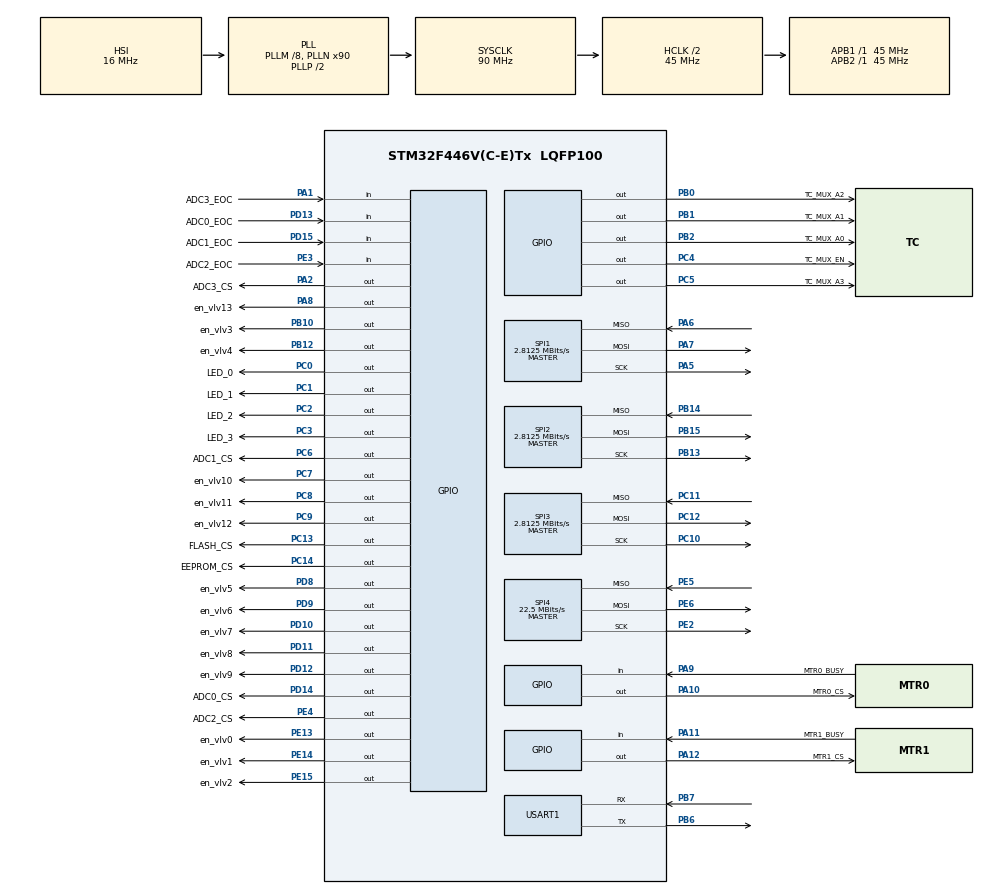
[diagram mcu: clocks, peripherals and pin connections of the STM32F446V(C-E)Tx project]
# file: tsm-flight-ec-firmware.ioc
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Mcu.Family=STM32F4
Mcu.Name=STM32F446V(C-E)Tx
Mcu.Package=LQFP100
NVIC.PriorityGroup=NVIC_PRIORITYGROUP_4
NVIC.TIM1_TRG_COM_TIM11_IRQn=true\:1\:0\:true\:false\:true\:true\:true
NVIC.TIM1_UP_TIM10_IRQn=true\:1\:0\:true\:false\:true\:true\:true
NVIC.TIM8_UP_TIM13_IRQn=true\:1\:0\:true\:false\:true\:true\:true
NVIC.USART1_IRQn=true\:0\:0\:true\:false\:true\:true\:true
PA1.GPIO_Label=ADC3_EOC
PA1.Signal=GPIO_Input
PA10.GPIO_Label=MTR0_CS
PA10.Signal=GPIO_Output
PA11.GPIO_Label=MTR1_BUSY
PA11.Signal=GPIO_Input
PA12.GPIO_Label=MTR1_CS
PA12.Signal=GPIO_Output
PA13.Mode=JTAG_4_pins
PA13.Signal=SYS_JTMS-SWDIO
PA14.Mode=JTAG_4_pins
PA14.Signal=SYS_JTCK-SWCLK
PA15.Mode=JTAG_4_pins
PA15.Signal=SYS_JTDI
PA2.GPIO_Label=ADC3_CS
PA2.Signal=GPIO_Output
PA5.Mode=Full_Duplex_Master
PA5.Signal=SPI1_SCK
PA6.Mode=Full_Duplex_Master
PA6.Signal=SPI1_MISO
PA7.Mode=Full_Duplex_Master
PA7.Signal=SPI1_MOSI
PA8.GPIO_Label=en_vlv13
PA8.Signal=GPIO_Output
PA9.GPIO_Label=MTR0_BUSY
PA9.Signal=GPIO_Input
PB0.GPIO_Label=TC_MUX_A2
PB0.Signal=GPIO_Output
PB1.GPIO_Label=TC_MUX_A1
PB1.Signal=GPIO_Output
PB10.GPIO_Label=en_vlv3
PB10.Signal=GPIO_Output
PB12.GPIO_Label=en_vlv4
PB12.Signal=GPIO_Output
PB13.Mode=Full_Duplex_Master
PB13.Signal=SPI2_SCK
PB14.Mode=Full_Duplex_Master
PB14.Signal=SPI2_MISO
PB15.Mode=Full_Duplex_Master
PB15.Signal=SPI2_MOSI
PB2.GPIO_Label=TC_MUX_A0
PB2.Signal=GPIO_Output
PB3.Mode=JTAG_4_pins
PB3.Signal=SYS_JTDO-SWO
PB6.Mode=Asynchronous
PB6.Signal=USART1_TX
PB7.Mode=Asynchronous
PB7.Signal=USART1_RX
PC0.GPIO_Label=LED_0
PC0.Signal=GPIO_Output
PC1.GPIO_Label=LED_1
PC1.Signal=GPIO_Output
PC10.Mode=Full_Duplex_Master
PC10.Signal=SPI3_SCK
PC11.Mode=Full_Duplex_Master
PC11.Signal=SPI3_MISO
PC12.Mode=Full_Duplex_Master
PC12.Signal=SPI3_MOSI
PC13.GPIO_Label=FLASH_CS
PC13.Signal=GPIO_Output
PC14-OSC32_IN.GPIO_Label=EEPROM_CS
PC14-OSC32_IN.Signal=GPIO_Output
PC2.GPIO_Label=LED_2
PC2.Signal=GPIO_Output
PC3.GPIO_Label=LED_3
PC3.Signal=GPIO_Output
PC4.GPIO_Label=TC_MUX_EN
PC4.Signal=GPIO_Output
PC5.GPIO_Label=TC_MUX_A3
PC5.Signal=GPIO_Output
PC6.GPIO_Label=ADC1_CS
PC6.Signal=GPIO_Output
PC7.GPIO_Label=en_vlv10
PC7.Signal=GPIO_Output
PC8.GPIO_Label=en_vlv11
PC8.Signal=GPIO_Output
PC9.GPIO_Label=en_vlv12
PC9.Signal=GPIO_Output
PD10.GPIO_Label=en_vlv7
PD10.Signal=GPIO_Output
PD11.GPIO_Label=en_vlv8
PD11.Signal=GPIO_Output
PD12.GPIO_Label=en_vlv9
PD12.Signal=GPIO_Output
PD13.GPIO_Label=ADC0_EOC
PD13.Signal=GPIO_Input
PD14.GPIO_Label=ADC0_CS
PD14.Signal=GPIO_Output
PD15.GPIO_Label=ADC1_EOC
PD15.Signal=GPIO_Input
PD8.GPIO_Label=en_vlv5
PD8.Signal=GPIO_Output
PD9.GPIO_Label=en_vlv6
PD9.Signal=GPIO_Output
PE13.GPIO_Label=en_vlv0
PE13.Signal=GPIO_Output
PE14.GPIO_Label=en_vlv1
PE14.Signal=GPIO_Output
PE15.GPIO_Label=en_vlv2
PE15.Signal=GPIO_Output
PE2.Mode=Full_Duplex_Master
PE2.Signal=SPI4_SCK
PE3.GPIO_Label=ADC2_EOC
PE3.Signal=GPIO_Input
PE4.GPIO_Label=ADC2_CS
PE4.Signal=GPIO_Output
PE5.Mode=Full_Duplex_Master
PE5.Signal=SPI4_MISO
PE6.Mode=Full_Duplex_Master
PE6.Signal=SPI4_MOSI
PH0-OSC_IN.Mode=HSE-External-Oscillator
PH0-OSC_IN.Signal=RCC_OSC_IN
PH1-OSC_OUT.Mode=HSE-External-Oscillator
PH1-OSC_OUT.Signal=RCC_OSC_OUT
ProjectManager.HeapSize=0x200
ProjectManager.StackSize=0x400
ProjectManager.TargetToolchain=STM32CubeIDE
RCC.AHBCLKDivider=RCC_SYSCLK_DIV2
RCC.AHBFreq_Value=45000000
RCC.APB1Freq_Value=45000000
RCC.APB1TimFreq_Value=45000000
RCC.APB2Freq_Value=45000000
RCC.APB2TimFreq_Value=45000000
RCC.CortexFreq_Value=45000000
RCC.HCLKFreq_Value=45000000
RCC.PLLM=8
RCC.PLLN=90
RCC.SYSCLKFreq_VALUE=90000000
RCC.SYSCLKSource=RCC_SYSCLKSOURCE_PLLCLK
RCC.USBFreq_Value=90000000
RCC.VCOOutputFreq_Value=180000000
SPI1.BaudRatePrescaler=SPI_BAUDRATEPRESCALER_16
SPI1.CalculateBaudRate=2.8125 MBits/s
SPI1.Direction=SPI_DIRECTION_2LINES
SPI1.Mode=SPI_MODE_MASTER
SPI1.VirtualType=VM_MASTER
SPI2.BaudRatePrescaler=SPI_BAUDRATEPRESCALER_16
SPI2.CLKPhase=SPI_PHASE_2EDGE
SPI2.CLKPolarity=SPI_POLARITY_HIGH
SPI2.CalculateBaudRate=2.8125 MBits/s
SPI2.Direction=SPI_DIRECTION_2LINES
SPI2.Mode=SPI_MODE_MASTER
SPI2.VirtualType=VM_MASTER
SPI3.BaudRatePrescaler=SPI_BAUDRATEPRESCALER_16
SPI3.CalculateBaudRate=2.8125 MBits/s
SPI3.Direction=SPI_DIRECTION_2LINES
SPI3.Mode=SPI_MODE_MASTER
SPI3.VirtualType=VM_MASTER
SPI4.BaudRatePrescaler=SPI_BAUDRATEPRESCALER_2
SPI4.CalculateBaudRate=22.5 MBits/s
SPI4.Direction=SPI_DIRECTION_2LINES
SPI4.Mode=SPI_MODE_MASTER
SPI4.VirtualType=VM_MASTER
TIM10.Period=50 - 1
TIM10.Prescaler=45000 - 1
TIM11.Period=100 - 1
TIM11.Prescaler=45000 - 1
TIM13.Period=5 - 1
TIM13.Prescaler=45000 - 1
TIM5.Prescaler=45 - 1
USART1.VirtualMode=VM_ASYNC
VP_TIM10_VS_ClockSourceINT.Mode=Enable_Timer
VP_TIM11_VS_ClockSourceINT.Mode=Enable_Timer
VP_TIM13_VS_ClockSourceINT.Mode=Enable_Timer
VP_TIM5_VS_ClockSourceINT.Mode=Internal
board=custom

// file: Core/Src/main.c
/* USER CODE BEGIN Header */
/**
  ******************************************************************************
  * @file           : main.c
  * @brief          : Main program body
  ******************************************************************************
  * @attention
  *
  * <h2><center>&copy; Copyright (c) 2021 STMicroelectronics.
  * All rights reserved.</center></h2>
  *
  * This software component is licensed by ST under BSD 3-Clause license,
  * the "License"; You may not use this file except in compliance with the
  * License. You may obtain a copy of the License at:
  *                        opensource.org/licenses/BSD-3-Clause
  *
  * Additional MASA Documentation:
  * https://docs.google.com/document/d/1YoBR0BOyjQl4pA-RrP4JVf-ctQf2zUJfwAx-qijJZXA/edit
  *
  ******************************************************************************
  */
/* USER CODE END Header */
#include "main.h"

/* USER CODE BEGIN Includes */

#include "constants.h"
#include "autosequence.h"
#include "sensors.h"
#include "globals.h"  // included for STATE
#include "serial_data.h"
#include "tank_pressure_control.h"
#include "nonvolatile_memory.h"

#include <string.h>

#include "L6470.h"

/* USER CODE END Includes */

SPI_HandleTypeDef hspi1;
SPI_HandleTypeDef hspi2;
SPI_HandleTypeDef hspi3;
SPI_HandleTypeDef hspi4;

TIM_HandleTypeDef htim5;
TIM_HandleTypeDef htim10;
TIM_HandleTypeDef htim11;
TIM_HandleTypeDef htim13;

UART_HandleTypeDef huart1;

/* USER CODE BEGIN PV */

// Timer interrupt flags
volatile uint8_t periodic_flag_5ms;
volatile uint8_t periodic_flag_50ms;
volatile uint8_t periodic_flag_100ms;

// Serial data
extern W25N01GV_Flash flash;
extern uint8_t telem_disabled;
extern DmaBufferInfo buffer_info;

// Autosequence control info and timings
extern Autosequence_Info autosequence;

L6470_Motor_IC motor;

/* USER CODE END PV */

void SystemClock_Config(void);
static void MX_GPIO_Init(void);
static void MX_SPI1_Init(void);
static void MX_SPI4_Init(void);
static void MX_SPI2_Init(void);
static void MX_SPI3_Init(void);
static void MX_USART1_UART_Init(void);
static void MX_TIM5_Init(void);
static void MX_TIM10_Init(void);
static void MX_TIM11_Init(void);
static void MX_TIM13_Init(void);

/* USER CODE BEGIN 0 */

/**
 * Timer interrupt flag handling
 */
void HAL_TIM_PeriodElapsedCallback(TIM_HandleTypeDef* htim) {
	if (htim == &TIM_5MS) {
		periodic_flag_5ms = 1;
	}
	else if (htim == &TIM_50MS) {
		periodic_flag_50ms = 1;
	}
	else if (htim == &TIM_100MS) {
		periodic_flag_100ms = 1;
	}
}

/**
 * DMA rx handling
 */
/*
void HAL_UART_RxCpltCallback(UART_HandleTypeDef *huart) {
	handle_uart_dma_rx(huart, &buffer_info);
}

*/

void init_peripherals() {

}

uint8_t last_byte_uart = 255;
volatile uint16_t telem_buffer_sz = 0;
uint8_t telem_buffer[255];
uint8_t eof_received = 0;

void HAL_UART_RxCpltCallback(UART_HandleTypeDef *huart) {
	if (huart == &COM_UART) {
		HAL_UART_Receive_IT(&COM_UART, &last_byte_uart, 1);
		telem_buffer[telem_buffer_sz++] = last_byte_uart;
		if (last_byte_uart == 0) {
			eof_received = 1;
		}
	}
}

float var;

/* USER CODE END 0 */

int main(void)
{

  /* MCU Configuration--------------------------------------------------------*/

  /* Reset of all peripherals, Initializes the Flash interface and the Systick. */
  HAL_Init();

  /* Configure the system clock */
  SystemClock_Config();

  /* Initialize all configured peripherals */
  MX_GPIO_Init();
  MX_SPI1_Init();
  MX_SPI4_Init();
  MX_SPI2_Init();
  MX_SPI3_Init();
  MX_USART1_UART_Init();
  MX_TIM5_Init();
  MX_TIM10_Init();
  MX_TIM11_Init();
  MX_TIM13_Init();
  /* USER CODE BEGIN 2 */

  // Initialize everything

  /* Initialize HAL stuff */
  // Timers
  HAL_TIM_Base_Start(&TIM_MICROS);
  HAL_TIM_Base_Start_IT(&TIM_5MS);
  HAL_TIM_Base_Start_IT(&TIM_50MS);
  HAL_TIM_Base_Start_IT(&TIM_100MS);

  // UART DMA
  HAL_UART_Receive_IT(&COM_UART, &last_byte_uart, 1);
  //__HAL_UART_ENABLE_IT(&COM_UART, UART_IT_IDLE);   // enable idle line interrupt
  //HAL_UART_Receive_DMA(&COM_UART, buffer_info.DMA_RX_Buffer, DMA_RX_BUFFER_SIZE);

  // Watchdog

  // Read variables from flash: this must be called very early in initialization!
  init_flash(&flash, &SPI_MEM, FLASH_CS_GPIO_Port, FLASH_CS_Pin);
  read_nonvolatile_variables();

  //pressure[0] = 1;

  // Board-specific hardware
  //init_spi_peripherals();  // Set chip selects high and initialize

  //init_adcs();
  //init_thermocouples();
  init_serial_data(&buffer_info);

  init_board(FLIGHT_EC_ADDR);  // Comms

  init_autosequence_timings();

  // This is done to set each of the pins or spi comm structs for the motor:
  motor.hspi = &SPI_MOTOR;
  motor.cs_base = MTR0_CS_GPIO_Port;
  motor.cs_pin = MTR0_CS_Pin;
  motor.busy_base = MTR0_BUSY_GPIO_Port;
  motor.busy_pin = MTR0_BUSY_Pin;

  L6470_set_motor_max_speed(&motor, 50);
  L6470_init_motor(&motor, L6470_FULL_STEP_MODE, 1.8);

  /* USER CODE END 2 */

  /* Infinite loop */
  /* USER CODE BEGIN WHILE */
  while (1)
  {

	  // Verify motor Connections:
	  // Need to move motor to a specific position, i.e. 90 degrees
	  L6470_goto_motor_pos(&motor, 90);
	  L6470_get_status(&motor);
	  HAL_GPIO_WritePin(LED_0_GPIO_Port, LED_0_Pin, 1);
	  // Now have the motor wait:
	  HAL_Delay(2000);	// Wait 5 seconds for the motor to turn and stop and wait
	  var = L6470_get_position_deg(&motor);
	  // Now we move back to the 0 position:
	  L6470_goto_motor_pos(&motor, 0);
	  L6470_get_status(&motor);
	  HAL_GPIO_WritePin(LED_0_GPIO_Port, LED_0_Pin, 0);
	  // Now have the motor wait:
	  HAL_Delay(2000);	// Wait 5 seconds for the motor to turn and stop and wait

	  /*

	  // Handle autosequence first in every loop
	  // most important, time sensitive operation
	  // TODO: call autosequence functions
	  //execute_autosequence();
	  flash_mem = get_bytes_remaining(&flash);

	  if (periodic_flag_50ms) {
		  periodic_flag_50ms = 0;

		  // Active tank pressure PID control
		  // tank enable flags get set during the autosequence
		  if (STATE == Hotfire) {
			  if (autosequence.hotfire_lox_tank_enable_PID_control) {
				  tank_PID_pressure_control(&tanks[LOX_TANK_NUM]);
			  }
			  if (autosequence.hotfire_fuel_tank_enable_PID_control) {
				  tank_PID_pressure_control(&tanks[FUEL_TANK_NUM]);
			  }
		  }
	  }

	  if (periodic_flag_5ms) {
		  periodic_flag_5ms = 0;

		  // sample adcs and thermocouples
		  //read_thermocouples();
		  //read_adc_counts();
		  //convert_adc_counts();

		  // handle redundant sensor voting algorithms
		  //resolve_redundant_sensors();

		  // Autopress bang bang
		  if (STATE == AutoPress) {
			  tank_autopress_bang_bang(&tanks[LOX_TANK_NUM]);
			  tank_autopress_bang_bang(&tanks[FUEL_TANK_NUM]);
		  }

		  else if (STATE == Startup) {
			  // Very similar to execute_autosequence() logic
			  uint32_t T_state = get_ellapsed_time_in_autosequence_state_ms();

			  // Initial motor position is arbitrarily put in the 5ms loop
			  if (T_state >= autosequence.startup_motor_start_delay_ms) {
				  tank_startup_init_motor_position(&tanks[LOX_TANK_NUM]);
				  tank_startup_init_motor_position(&tanks[FUEL_TANK_NUM]);
			  }
		  }

		  // Active tank pressure control valve bang bang
		  // tank enable flags get set during the autosequence
		  else if (STATE == Hotfire) {
			  if (autosequence.hotfire_lox_tank_enable_PID_control) {
				  tank_check_control_valve_threshold(&tanks[LOX_TANK_NUM]);
			  }
			  if (autosequence.hotfire_fuel_tank_enable_PID_control) {
				  tank_check_control_valve_threshold(&tanks[FUEL_TANK_NUM]);
			  }
		  }

		  // log flash data
		  if (LOGGING_ACTIVE) {
			  save_flash_packet();
		  }

	  }

	  // Check periodic interrupt flags and call appropriate functions if needed
	  if (periodic_flag_100ms) {
		  periodic_flag_100ms = 0;

		  if (!telem_disabled) {
			  send_telem_packet(SERVER_ADDR);
			  HAL_GPIO_TogglePin(LED_TELEM_PORT, LED_TELEM_PIN);
		  }

	  }

	  //HAL_UART_Receive(&COM_UART, rx_buffer, 13, HAL_MAX_DELAY);

	  if (eof_received) {
		  receive_data(&COM_UART, telem_buffer, telem_buffer_sz);
		  eof_received = 0;
		  telem_buffer_sz = 0;
	  }

*/

    /* USER CODE END WHILE */

  }
}

void SystemClock_Config(void)
{
  RCC_OscInitTypeDef RCC_OscInitStruct = {0};
  RCC_ClkInitTypeDef RCC_ClkInitStruct = {0};

  /** Configure the main internal regulator output voltage
  */
  __HAL_RCC_PWR_CLK_ENABLE();
  __HAL_PWR_VOLTAGESCALING_CONFIG(PWR_REGULATOR_VOLTAGE_SCALE3);
  /** Initializes the RCC Oscillators according to the specified parameters
  * in the RCC_OscInitTypeDef structure.
  */
  RCC_OscInitStruct.OscillatorType = RCC_OSCILLATORTYPE_HSI;
  RCC_OscInitStruct.HSIState = RCC_HSI_ON;
  RCC_OscInitStruct.HSICalibrationValue = RCC_HSICALIBRATION_DEFAULT;
  RCC_OscInitStruct.PLL.PLLState = RCC_PLL_ON;
  RCC_OscInitStruct.PLL.PLLSource = RCC_PLLSOURCE_HSI;
  RCC_OscInitStruct.PLL.PLLM = 8;
  RCC_OscInitStruct.PLL.PLLN = 90;
  RCC_OscInitStruct.PLL.PLLP = RCC_PLLP_DIV2;
  RCC_OscInitStruct.PLL.PLLQ = 2;
  RCC_OscInitStruct.PLL.PLLR = 2;
  if (HAL_RCC_OscConfig(&RCC_OscInitStruct) != HAL_OK)
  {
    Error_Handler();
  }
  /** Initializes the CPU, AHB and APB buses clocks
  */
  RCC_ClkInitStruct.ClockType = RCC_CLOCKTYPE_HCLK|RCC_CLOCKTYPE_SYSCLK
                              |RCC_CLOCKTYPE_PCLK1|RCC_CLOCKTYPE_PCLK2;
  RCC_ClkInitStruct.SYSCLKSource = RCC_SYSCLKSOURCE_PLLCLK;
  RCC_ClkInitStruct.AHBCLKDivider = RCC_SYSCLK_DIV2;
  RCC_ClkInitStruct.APB1CLKDivider = RCC_HCLK_DIV1;
  RCC_ClkInitStruct.APB2CLKDivider = RCC_HCLK_DIV1;

  if (HAL_RCC_ClockConfig(&RCC_ClkInitStruct, FLASH_LATENCY_1) != HAL_OK)
  {
    Error_Handler();
  }
}

static void MX_SPI1_Init(void)
{

  /* SPI1 parameter configuration*/
  hspi1.Instance = SPI1;
  hspi1.Init.Mode = SPI_MODE_MASTER;
  hspi1.Init.Direction = SPI_DIRECTION_2LINES;
  hspi1.Init.DataSize = SPI_DATASIZE_8BIT;
  hspi1.Init.CLKPolarity = SPI_POLARITY_LOW;
  hspi1.Init.CLKPhase = SPI_PHASE_1EDGE;
  hspi1.Init.NSS = SPI_NSS_SOFT;
  hspi1.Init.BaudRatePrescaler = SPI_BAUDRATEPRESCALER_16;
  hspi1.Init.FirstBit = SPI_FIRSTBIT_MSB;
  hspi1.Init.TIMode = SPI_TIMODE_DISABLE;
  hspi1.Init.CRCCalculation = SPI_CRCCALCULATION_DISABLE;
  hspi1.Init.CRCPolynomial = 10;
  if (HAL_SPI_Init(&hspi1) != HAL_OK)
  {
    Error_Handler();
  }

}

static void MX_SPI2_Init(void)
{

  /* SPI2 parameter configuration*/
  hspi2.Instance = SPI2;
  hspi2.Init.Mode = SPI_MODE_MASTER;
  hspi2.Init.Direction = SPI_DIRECTION_2LINES;
  hspi2.Init.DataSize = SPI_DATASIZE_8BIT;
  hspi2.Init.CLKPolarity = SPI_POLARITY_HIGH;
  hspi2.Init.CLKPhase = SPI_PHASE_2EDGE;
  hspi2.Init.NSS = SPI_NSS_SOFT;
  hspi2.Init.BaudRatePrescaler = SPI_BAUDRATEPRESCALER_16;
  hspi2.Init.FirstBit = SPI_FIRSTBIT_MSB;
  hspi2.Init.TIMode = SPI_TIMODE_DISABLE;
  hspi2.Init.CRCCalculation = SPI_CRCCALCULATION_DISABLE;
  hspi2.Init.CRCPolynomial = 10;
  if (HAL_SPI_Init(&hspi2) != HAL_OK)
  {
    Error_Handler();
  }

}

static void MX_SPI3_Init(void)
{

  /* SPI3 parameter configuration*/
  hspi3.Instance = SPI3;
  hspi3.Init.Mode = SPI_MODE_MASTER;
  hspi3.Init.Direction = SPI_DIRECTION_2LINES;
  hspi3.Init.DataSize = SPI_DATASIZE_8BIT;
  hspi3.Init.CLKPolarity = SPI_POLARITY_LOW;
  hspi3.Init.CLKPhase = SPI_PHASE_1EDGE;
  hspi3.Init.NSS = SPI_NSS_SOFT;
  hspi3.Init.BaudRatePrescaler = SPI_BAUDRATEPRESCALER_16;
  hspi3.Init.FirstBit = SPI_FIRSTBIT_MSB;
  hspi3.Init.TIMode = SPI_TIMODE_DISABLE;
  hspi3.Init.CRCCalculation = SPI_CRCCALCULATION_DISABLE;
  hspi3.Init.CRCPolynomial = 10;
  if (HAL_SPI_Init(&hspi3) != HAL_OK)
  {
    Error_Handler();
  }

}

static void MX_SPI4_Init(void)
{

  /* SPI4 parameter configuration*/
  hspi4.Instance = SPI4;
  hspi4.Init.Mode = SPI_MODE_MASTER;
  hspi4.Init.Direction = SPI_DIRECTION_2LINES;
  hspi4.Init.DataSize = SPI_DATASIZE_8BIT;
  hspi4.Init.CLKPolarity = SPI_POLARITY_LOW;
  hspi4.Init.CLKPhase = SPI_PHASE_1EDGE;
  hspi4.Init.NSS = SPI_NSS_SOFT;
  hspi4.Init.BaudRatePrescaler = SPI_BAUDRATEPRESCALER_2;
  hspi4.Init.FirstBit = SPI_FIRSTBIT_MSB;
  hspi4.Init.TIMode = SPI_TIMODE_DISABLE;
  hspi4.Init.CRCCalculation = SPI_CRCCALCULATION_DISABLE;
  hspi4.Init.CRCPolynomial = 10;
  if (HAL_SPI_Init(&hspi4) != HAL_OK)
  {
    Error_Handler();
  }

}

static void MX_TIM5_Init(void)
{

  TIM_ClockConfigTypeDef sClockSourceConfig = {0};
  TIM_MasterConfigTypeDef sMasterConfig = {0};

  htim5.Instance = TIM5;
  htim5.Init.Prescaler = 45 - 1;
  htim5.Init.CounterMode = TIM_COUNTERMODE_UP;
  htim5.Init.Period = 4294967295;
  htim5.Init.ClockDivision = TIM_CLOCKDIVISION_DIV1;
  htim5.Init.AutoReloadPreload = TIM_AUTORELOAD_PRELOAD_DISABLE;
  if (HAL_TIM_Base_Init(&htim5) != HAL_OK)
  {
    Error_Handler();
  }
  sClockSourceConfig.ClockSource = TIM_CLOCKSOURCE_INTERNAL;
  if (HAL_TIM_ConfigClockSource(&htim5, &sClockSourceConfig) != HAL_OK)
  {
    Error_Handler();
  }
  sMasterConfig.MasterOutputTrigger = TIM_TRGO_RESET;
  sMasterConfig.MasterSlaveMode = TIM_MASTERSLAVEMODE_DISABLE;
  if (HAL_TIMEx_MasterConfigSynchronization(&htim5, &sMasterConfig) != HAL_OK)
  {
    Error_Handler();
  }

}

static void MX_TIM10_Init(void)
{

  htim10.Instance = TIM10;
  htim10.Init.Prescaler = 45000 - 1;
  htim10.Init.CounterMode = TIM_COUNTERMODE_UP;
  htim10.Init.Period = 50 - 1;
  htim10.Init.ClockDivision = TIM_CLOCKDIVISION_DIV1;
  htim10.Init.AutoReloadPreload = TIM_AUTORELOAD_PRELOAD_DISABLE;
  if (HAL_TIM_Base_Init(&htim10) != HAL_OK)
  {
    Error_Handler();
  }

}

static void MX_TIM11_Init(void)
{

  htim11.Instance = TIM11;
  htim11.Init.Prescaler = 45000 - 1;
  htim11.Init.CounterMode = TIM_COUNTERMODE_UP;
  htim11.Init.Period = 100 - 1;
  htim11.Init.ClockDivision = TIM_CLOCKDIVISION_DIV1;
  htim11.Init.AutoReloadPreload = TIM_AUTORELOAD_PRELOAD_DISABLE;
  if (HAL_TIM_Base_Init(&htim11) != HAL_OK)
  {
    Error_Handler();
  }

}

static void MX_TIM13_Init(void)
{

  htim13.Instance = TIM13;
  htim13.Init.Prescaler = 45000 - 1;
  htim13.Init.CounterMode = TIM_COUNTERMODE_UP;
  htim13.Init.Period = 5 - 1;
  htim13.Init.ClockDivision = TIM_CLOCKDIVISION_DIV1;
  htim13.Init.AutoReloadPreload = TIM_AUTORELOAD_PRELOAD_DISABLE;
  if (HAL_TIM_Base_Init(&htim13) != HAL_OK)
  {
    Error_Handler();
  }

}

static void MX_USART1_UART_Init(void)
{

  huart1.Instance = USART1;
  huart1.Init.BaudRate = 115200;
  huart1.Init.WordLength = UART_WORDLENGTH_8B;
  huart1.Init.StopBits = UART_STOPBITS_1;
  huart1.Init.Parity = UART_PARITY_NONE;
  huart1.Init.Mode = UART_MODE_TX_RX;
  huart1.Init.HwFlowCtl = UART_HWCONTROL_NONE;
  huart1.Init.OverSampling = UART_OVERSAMPLING_16;
  if (HAL_UART_Init(&huart1) != HAL_OK)
  {
    Error_Handler();
  }

}

static void MX_GPIO_Init(void)
{
  GPIO_InitTypeDef GPIO_InitStruct = {0};

  /* GPIO Ports Clock Enable */
  __HAL_RCC_GPIOE_CLK_ENABLE();
  __HAL_RCC_GPIOC_CLK_ENABLE();
  __HAL_RCC_GPIOH_CLK_ENABLE();
  __HAL_RCC_GPIOA_CLK_ENABLE();
  __HAL_RCC_GPIOB_CLK_ENABLE();
  __HAL_RCC_GPIOD_CLK_ENABLE();

  /*Configure GPIO pin Output Level */
  HAL_GPIO_WritePin(GPIOE, ADC2_CS_Pin|en_vlv0_Pin|en_vlv1_Pin|en_vlv2_Pin, GPIO_PIN_RESET);

  /*Configure GPIO pin Output Level */
  HAL_GPIO_WritePin(GPIOC, FLASH_CS_Pin|EEPROM_CS_Pin|LED_0_Pin|LED_1_Pin
                          |LED_2_Pin|LED_3_Pin|TC_MUX_EN_Pin|TC_MUX_A3_Pin
                          |ADC1_CS_Pin|en_vlv10_Pin|en_vlv11_Pin|en_vlv12_Pin, GPIO_PIN_RESET);

  /*Configure GPIO pin Output Level */
  HAL_GPIO_WritePin(GPIOA, ADC3_CS_Pin|en_vlv13_Pin|MTR0_CS_Pin|MTR1_CS_Pin, GPIO_PIN_RESET);

  /*Configure GPIO pin Output Level */
  HAL_GPIO_WritePin(GPIOB, TC_MUX_A2_Pin|TC_MUX_A1_Pin|TC_MUX_A0_Pin|en_vlv3_Pin
                          |en_vlv4_Pin, GPIO_PIN_RESET);

  /*Configure GPIO pin Output Level */
  HAL_GPIO_WritePin(GPIOD, en_vlv5_Pin|en_vlv6_Pin|en_vlv7_Pin|en_vlv8_Pin
                          |en_vlv9_Pin|ADC0_CS_Pin, GPIO_PIN_RESET);

  /*Configure GPIO pin : ADC2_EOC_Pin */
  GPIO_InitStruct.Pin = ADC2_EOC_Pin;
  GPIO_InitStruct.Mode = GPIO_MODE_INPUT;
  GPIO_InitStruct.Pull = GPIO_NOPULL;
  HAL_GPIO_Init(ADC2_EOC_GPIO_Port, &GPIO_InitStruct);

  /*Configure GPIO pins : ADC2_CS_Pin en_vlv0_Pin en_vlv1_Pin en_vlv2_Pin */
  GPIO_InitStruct.Pin = ADC2_CS_Pin|en_vlv0_Pin|en_vlv1_Pin|en_vlv2_Pin;
  GPIO_InitStruct.Mode = GPIO_MODE_OUTPUT_PP;
  GPIO_InitStruct.Pull = GPIO_NOPULL;
  GPIO_InitStruct.Speed = GPIO_SPEED_FREQ_LOW;
  HAL_GPIO_Init(GPIOE, &GPIO_InitStruct);

  /*Configure GPIO pins : FLASH_CS_Pin EEPROM_CS_Pin LED_0_Pin LED_1_Pin
                           LED_2_Pin LED_3_Pin TC_MUX_EN_Pin TC_MUX_A3_Pin
                           ADC1_CS_Pin en_vlv10_Pin en_vlv11_Pin en_vlv12_Pin */
  GPIO_InitStruct.Pin = FLASH_CS_Pin|EEPROM_CS_Pin|LED_0_Pin|LED_1_Pin
                          |LED_2_Pin|LED_3_Pin|TC_MUX_EN_Pin|TC_MUX_A3_Pin
                          |ADC1_CS_Pin|en_vlv10_Pin|en_vlv11_Pin|en_vlv12_Pin;
  GPIO_InitStruct.Mode = GPIO_MODE_OUTPUT_PP;
  GPIO_InitStruct.Pull = GPIO_NOPULL;
  GPIO_InitStruct.Speed = GPIO_SPEED_FREQ_LOW;
  HAL_GPIO_Init(GPIOC, &GPIO_InitStruct);

  /*Configure GPIO pins : ADC3_EOC_Pin MTR0_BUSY_Pin MTR1_BUSY_Pin */
  GPIO_InitStruct.Pin = ADC3_EOC_Pin|MTR0_BUSY_Pin|MTR1_BUSY_Pin;
  GPIO_InitStruct.Mode = GPIO_MODE_INPUT;
  GPIO_InitStruct.Pull = GPIO_NOPULL;
  HAL_GPIO_Init(GPIOA, &GPIO_InitStruct);

  /*Configure GPIO pins : ADC3_CS_Pin en_vlv13_Pin MTR0_CS_Pin MTR1_CS_Pin */
  GPIO_InitStruct.Pin = ADC3_CS_Pin|en_vlv13_Pin|MTR0_CS_Pin|MTR1_CS_Pin;
  GPIO_InitStruct.Mode = GPIO_MODE_OUTPUT_PP;
  GPIO_InitStruct.Pull = GPIO_NOPULL;
  GPIO_InitStruct.Speed = GPIO_SPEED_FREQ_LOW;
  HAL_GPIO_Init(GPIOA, &GPIO_InitStruct);

  /*Configure GPIO pins : TC_MUX_A2_Pin TC_MUX_A1_Pin TC_MUX_A0_Pin en_vlv3_Pin
                           en_vlv4_Pin */
  GPIO_InitStruct.Pin = TC_MUX_A2_Pin|TC_MUX_A1_Pin|TC_MUX_A0_Pin|en_vlv3_Pin
                          |en_vlv4_Pin;
  GPIO_InitStruct.Mode = GPIO_MODE_OUTPUT_PP;
  GPIO_InitStruct.Pull = GPIO_NOPULL;
  GPIO_InitStruct.Speed = GPIO_SPEED_FREQ_LOW;
  HAL_GPIO_Init(GPIOB, &GPIO_InitStruct);

  /*Configure GPIO pins : en_vlv5_Pin en_vlv6_Pin en_vlv7_Pin en_vlv8_Pin
                           en_vlv9_Pin ADC0_CS_Pin */
  GPIO_InitStruct.Pin = en_vlv5_Pin|en_vlv6_Pin|en_vlv7_Pin|en_vlv8_Pin
                          |en_vlv9_Pin|ADC0_CS_Pin;
  GPIO_InitStruct.Mode = GPIO_MODE_OUTPUT_PP;
  GPIO_InitStruct.Pull = GPIO_NOPULL;
  GPIO_InitStruct.Speed = GPIO_SPEED_FREQ_LOW;
  HAL_GPIO_Init(GPIOD, &GPIO_InitStruct);

  /*Configure GPIO pins : ADC0_EOC_Pin ADC1_EOC_Pin */
  GPIO_InitStruct.Pin = ADC0_EOC_Pin|ADC1_EOC_Pin;
  GPIO_InitStruct.Mode = GPIO_MODE_INPUT;
  GPIO_InitStruct.Pull = GPIO_NOPULL;
  HAL_GPIO_Init(GPIOD, &GPIO_InitStruct);

}

void Error_Handler(void)
{
  __disable_irq();
  while (1)
  {
  }
}

/************************ (C) COPYRIGHT STMicroelectronics *****END OF FILE****/
